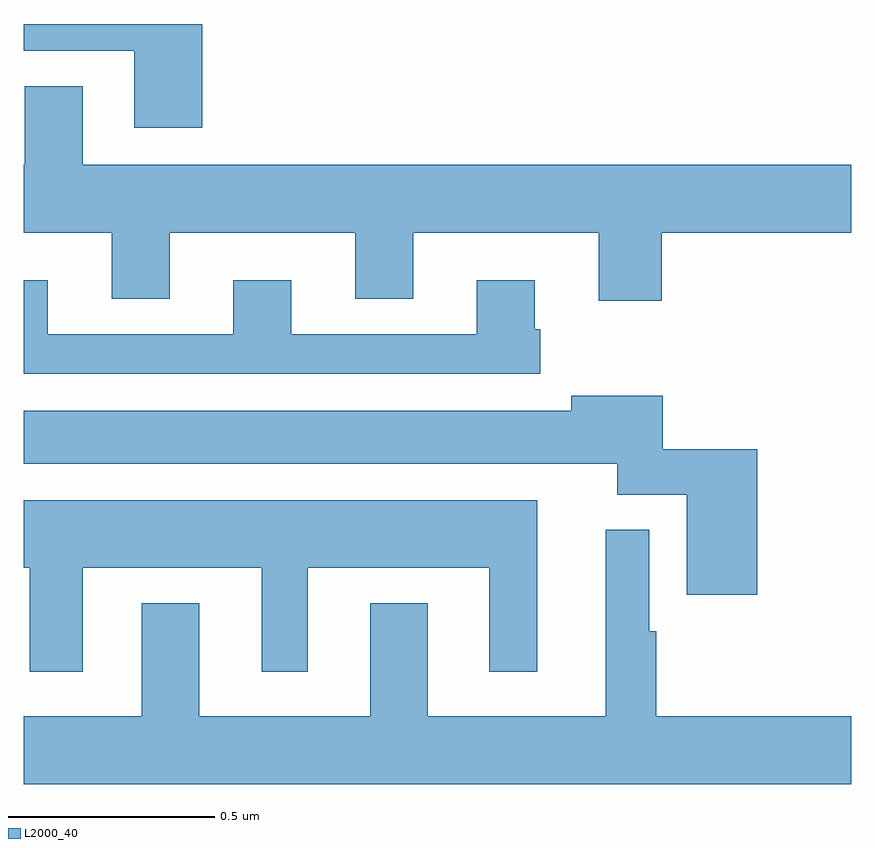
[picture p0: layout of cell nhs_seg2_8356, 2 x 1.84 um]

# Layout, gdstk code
import gdstk
lib = gdstk.Library(unit=1e-6, precision=1e-09)
def P(c, l, *ps):  # polygons
    for p in ps: c.add(gdstk.Polygon(p, *l))
L2000_40 = (2000, 40)

nhs_seg2_8356 = lib.new_cell('nhs_seg2_8356')
P(nhs_seg2_8356, L2000_40, [(215.432,654.8),(215,654.8),(215,654.735),(215.267,654.735),(215.267,654.549),(215.432,654.549)],
  [(216.542,654.296),(217,654.296),(217,654.46),(215.143,654.46),(215.143,654.65),(215.003,654.65),(215.003,654.46),(215,654.46),(215,654.296),(215.213,654.296),(215.213,654.136),(215.353,654.136),(215.353,654.296),(215.801,654.296),(215.801,654.136),(215.941,654.136),(215.941,654.296),(216.389,654.296),(216.389,654.132),(216.542,654.132)],
  [(216.248,654.063),(216.235,654.063),(216.235,654.181),(216.095,654.181),(216.095,654.051),(215.647,654.051),(215.647,654.181),(215.507,654.181),(215.507,654.051),(215.059,654.051),(215.059,654.181),(215,654.181),(215,653.955),(216.248,653.955)],
  [(216.773,653.773),(216.544,653.773),(216.544,653.902),(216.323,653.902),(216.323,653.866),(215,653.866),(215,653.738),(216.434,653.738),(216.434,653.663),(216.602,653.663),(216.602,653.421),(216.773,653.421)],
  [(215.143,653.486),(215.576,653.486),(215.576,653.235),(215.686,653.235),(215.686,653.486),(216.125,653.486),(216.125,653.235),(216.241,653.235),(216.241,653.65),(215,653.65),(215,653.486),(215.015,653.486),(215.015,653.235),(215.143,653.235)],
  [(217,653.128),(216.529,653.128),(216.529,653.333),(216.511,653.333),(216.511,653.578),(216.407,653.578),(216.407,653.128),(215.977,653.128),(215.977,653.401),(215.837,653.401),(215.837,653.128),(215.425,653.128),(215.425,653.401),(215.285,653.401),(215.285,653.128),(215,653.128),(215,652.964),(217,652.964)])

lib.write_gds('nhs_seg2_8356.gds')
